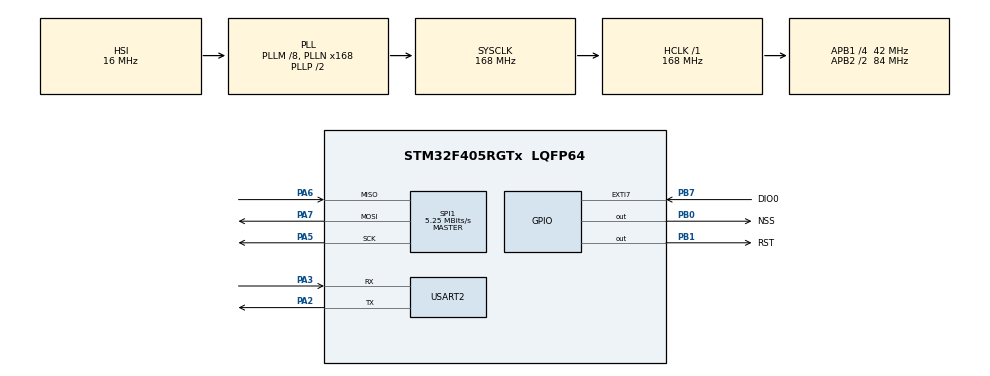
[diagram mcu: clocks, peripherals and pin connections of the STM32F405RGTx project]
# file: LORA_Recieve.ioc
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Mcu.Family=STM32F4
Mcu.Name=STM32F405RGTx
Mcu.Package=LQFP64
NVIC.EXTI9_5_IRQn=true\:0\:0\:true\:false\:true\:true\:true\:true
NVIC.PriorityGroup=NVIC_PRIORITYGROUP_4
NVIC.USART2_IRQn=true\:1\:0\:true\:false\:true\:true\:true\:true
PA13.Mode=Serial_Wire
PA13.Signal=SYS_JTMS-SWDIO
PA14.Mode=Serial_Wire
PA14.Signal=SYS_JTCK-SWCLK
PA2.Mode=Asynchronous
PA2.Signal=USART2_TX
PA3.Mode=Asynchronous
PA3.Signal=USART2_RX
PA5.Mode=Full_Duplex_Master
PA5.Signal=SPI1_SCK
PA6.Mode=Full_Duplex_Master
PA6.Signal=SPI1_MISO
PA7.Mode=Full_Duplex_Master
PA7.Signal=SPI1_MOSI
PB0.GPIO_Label=NSS
PB0.PinState=GPIO_PIN_SET
PB0.Signal=GPIO_Output
PB1.GPIO_Label=RST
PB1.PinState=GPIO_PIN_SET
PB1.Signal=GPIO_Output
PB7.GPIO_Label=DIO0
PB7.GPIO_ModeDefaultEXTI=GPIO_MODE_IT_RISING
PB7.Signal=GPXTI7
PH0-OSC_IN.Mode=HSE-External-Oscillator
PH0-OSC_IN.Signal=RCC_OSC_IN
PH1-OSC_OUT.Mode=HSE-External-Oscillator
PH1-OSC_OUT.Signal=RCC_OSC_OUT
ProjectManager.HeapSize=0x200
ProjectManager.StackSize=0x400
ProjectManager.TargetToolchain=STM32CubeIDE
RCC.48MHZClocksFreq_Value=84000000
RCC.AHBFreq_Value=168000000
RCC.APB1CLKDivider=RCC_HCLK_DIV4
RCC.APB1Freq_Value=42000000
RCC.APB1TimFreq_Value=84000000
RCC.APB2CLKDivider=RCC_HCLK_DIV2
RCC.APB2Freq_Value=84000000
RCC.APB2TimFreq_Value=168000000
RCC.CortexFreq_Value=168000000
RCC.HCLKFreq_Value=168000000
RCC.HSE_VALUE=25000000
RCC.HSI_VALUE=16000000
RCC.LSE_VALUE=32768
RCC.PLLM=8
RCC.PLLN=168
RCC.SYSCLKFreq_VALUE=168000000
RCC.SYSCLKSource=RCC_SYSCLKSOURCE_PLLCLK
RCC.VCOOutputFreq_Value=336000000
SPI1.BaudRatePrescaler=SPI_BAUDRATEPRESCALER_16
SPI1.CalculateBaudRate=5.25 MBits/s
SPI1.Direction=SPI_DIRECTION_2LINES
SPI1.Mode=SPI_MODE_MASTER
SPI1.VirtualType=VM_MASTER
USART2.VirtualMode=VM_ASYNC
board=custom

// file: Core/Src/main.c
/* USER CODE BEGIN Header */
/**
  ******************************************************************************
  * @file           : main.c
  * @brief          : Main program body
  ******************************************************************************
  * @attention
  *
  * Copyright (c) 2026 STMicroelectronics.
  * All rights reserved.
  *
  * This software is licensed under terms that can be found in the LICENSE file
  * in the root directory of this software component.
  * If no LICENSE file comes with this software, it is provided AS-IS.
  *
  ******************************************************************************
  */
/* USER CODE END Header */
#include "main.h"

/* USER CODE BEGIN Includes */
#include "LoRa.h"
#include <string.h>
#include "stdio.h"
/* USER CODE END Includes */

SPI_HandleTypeDef hspi1;

UART_HandleTypeDef huart2;

/* USER CODE BEGIN PV */
LoRa myLoRa;
uint8_t LoRa_stat=0;
uint8_t RxBuffer[15];

/* USER CODE END PV */

void SystemClock_Config(void);
static void MX_GPIO_Init(void);
static void MX_SPI1_Init(void);
static void MX_USART2_UART_Init(void);

/* USER CODE BEGIN 0 */
volatile uint8_t lora_rx_flag = 0;
volatile uint8_t uart_busy = 0;
void HAL_UART_TxCpltCallback(UART_HandleTypeDef *huart)
{
	if(huart->Instance == USART2)
	{
	    uart_busy = 0;
	}
}

/* USER CODE END 0 */

int main(void)
{

  /* MCU Configuration--------------------------------------------------------*/

  /* Reset of all peripherals, Initializes the Flash interface and the Systick. */
  HAL_Init();

  /* Configure the system clock */
  SystemClock_Config();

  /* Initialize all configured peripherals */
  MX_GPIO_Init();
  MX_SPI1_Init();
  MX_USART2_UART_Init();
  /* USER CODE BEGIN 2 */
  myLoRa = newLoRa();

    myLoRa.CS_port         = NSS_GPIO_Port;
    myLoRa.CS_pin          = NSS_Pin;
    myLoRa.reset_port      = RST_GPIO_Port;
    myLoRa.reset_pin       = RST_Pin;
    myLoRa.DIO0_port       = DIO0_GPIO_Port;
    myLoRa.DIO0_pin        = DIO0_Pin;
    myLoRa.hSPIx           = &hspi1;

    myLoRa.frequency             = 433;             // default = 433 MHz
    myLoRa.spredingFactor        = SF_7;            // default = SF_7
    myLoRa.bandWidth             = BW_31_25KHz;       // default = BW_125KHz
    myLoRa.crcRate               = CR_4_5;          // default = CR_4_5
    myLoRa.power                 = POWER_20db;      // default = 20db
    myLoRa.overCurrentProtection = 130;             // default = 100 mA
    myLoRa.preamble              = 9;              // default = 8;

 //   if(LoRa_init(&myLoRa) == LORA_OK){
 // 	  LoRa_stat=1;
 //   }
 //
 //
    LoRa_reset(&myLoRa);
    	LoRa_init(&myLoRa);

    LoRa_startReceiving(&myLoRa);

 //   uint8_t TxBuffer[128];
 //   TxBuffer[0] = 45;
 //   TxBuffer[1] = 0x12;
 //   TxBuffer[2] = 'G';

  //LoRa_transmit(&myLoRa, TxBuffer, 3, 500);
  /* USER CODE END 2 */

  /* Infinite loop */
  while (1)
  {
	  if(lora_rx_flag && uart_busy == 0)
	  {
		  lora_rx_flag = 0;

		  LoRa_receive(&myLoRa, RxBuffer, 14);

		  LoRa_startReceiving(&myLoRa);

		  uart_busy = 1;
		  HAL_UART_Transmit_IT(&huart2, RxBuffer,strlen((char*)RxBuffer));
	   }
  }
}

void SystemClock_Config(void)
{
  RCC_OscInitTypeDef RCC_OscInitStruct = {0};
  RCC_ClkInitTypeDef RCC_ClkInitStruct = {0};

  /** Configure the main internal regulator output voltage
  */
  __HAL_RCC_PWR_CLK_ENABLE();
  __HAL_PWR_VOLTAGESCALING_CONFIG(PWR_REGULATOR_VOLTAGE_SCALE1);

  /** Initializes the RCC Oscillators according to the specified parameters
  * in the RCC_OscInitTypeDef structure.
  */
  RCC_OscInitStruct.OscillatorType = RCC_OSCILLATORTYPE_HSI;
  RCC_OscInitStruct.HSIState = RCC_HSI_ON;
  RCC_OscInitStruct.HSICalibrationValue = RCC_HSICALIBRATION_DEFAULT;
  RCC_OscInitStruct.PLL.PLLState = RCC_PLL_ON;
  RCC_OscInitStruct.PLL.PLLSource = RCC_PLLSOURCE_HSI;
  RCC_OscInitStruct.PLL.PLLM = 8;
  RCC_OscInitStruct.PLL.PLLN = 168;
  RCC_OscInitStruct.PLL.PLLP = RCC_PLLP_DIV2;
  RCC_OscInitStruct.PLL.PLLQ = 4;
  if (HAL_RCC_OscConfig(&RCC_OscInitStruct) != HAL_OK)
  {
    Error_Handler();
  }

  /** Initializes the CPU, AHB and APB buses clocks
  */
  RCC_ClkInitStruct.ClockType = RCC_CLOCKTYPE_HCLK|RCC_CLOCKTYPE_SYSCLK
                              |RCC_CLOCKTYPE_PCLK1|RCC_CLOCKTYPE_PCLK2;
  RCC_ClkInitStruct.SYSCLKSource = RCC_SYSCLKSOURCE_PLLCLK;
  RCC_ClkInitStruct.AHBCLKDivider = RCC_SYSCLK_DIV1;
  RCC_ClkInitStruct.APB1CLKDivider = RCC_HCLK_DIV4;
  RCC_ClkInitStruct.APB2CLKDivider = RCC_HCLK_DIV2;

  if (HAL_RCC_ClockConfig(&RCC_ClkInitStruct, FLASH_LATENCY_5) != HAL_OK)
  {
    Error_Handler();
  }
}

static void MX_SPI1_Init(void)
{

  /* SPI1 parameter configuration*/
  hspi1.Instance = SPI1;
  hspi1.Init.Mode = SPI_MODE_MASTER;
  hspi1.Init.Direction = SPI_DIRECTION_2LINES;
  hspi1.Init.DataSize = SPI_DATASIZE_8BIT;
  hspi1.Init.CLKPolarity = SPI_POLARITY_LOW;
  hspi1.Init.CLKPhase = SPI_PHASE_1EDGE;
  hspi1.Init.NSS = SPI_NSS_SOFT;
  hspi1.Init.BaudRatePrescaler = SPI_BAUDRATEPRESCALER_16;
  hspi1.Init.FirstBit = SPI_FIRSTBIT_MSB;
  hspi1.Init.TIMode = SPI_TIMODE_DISABLE;
  hspi1.Init.CRCCalculation = SPI_CRCCALCULATION_DISABLE;
  hspi1.Init.CRCPolynomial = 10;
  if (HAL_SPI_Init(&hspi1) != HAL_OK)
  {
    Error_Handler();
  }

}

static void MX_USART2_UART_Init(void)
{

  huart2.Instance = USART2;
  huart2.Init.BaudRate = 115200;
  huart2.Init.WordLength = UART_WORDLENGTH_8B;
  huart2.Init.StopBits = UART_STOPBITS_1;
  huart2.Init.Parity = UART_PARITY_NONE;
  huart2.Init.Mode = UART_MODE_TX_RX;
  huart2.Init.HwFlowCtl = UART_HWCONTROL_NONE;
  huart2.Init.OverSampling = UART_OVERSAMPLING_16;
  if (HAL_UART_Init(&huart2) != HAL_OK)
  {
    Error_Handler();
  }

}

static void MX_GPIO_Init(void)
{
  GPIO_InitTypeDef GPIO_InitStruct = {0};

  /* GPIO Ports Clock Enable */
  __HAL_RCC_GPIOH_CLK_ENABLE();
  __HAL_RCC_GPIOA_CLK_ENABLE();
  __HAL_RCC_GPIOB_CLK_ENABLE();

  /*Configure GPIO pin Output Level */
  HAL_GPIO_WritePin(GPIOB, NSS_Pin|RST_Pin, GPIO_PIN_SET);

  /*Configure GPIO pins : NSS_Pin RST_Pin */
  GPIO_InitStruct.Pin = NSS_Pin|RST_Pin;
  GPIO_InitStruct.Mode = GPIO_MODE_OUTPUT_PP;
  GPIO_InitStruct.Pull = GPIO_NOPULL;
  GPIO_InitStruct.Speed = GPIO_SPEED_FREQ_LOW;
  HAL_GPIO_Init(GPIOB, &GPIO_InitStruct);

  /*Configure GPIO pin : DIO0_Pin */
  GPIO_InitStruct.Pin = DIO0_Pin;
  GPIO_InitStruct.Mode = GPIO_MODE_IT_RISING;
  GPIO_InitStruct.Pull = GPIO_NOPULL;
  HAL_GPIO_Init(DIO0_GPIO_Port, &GPIO_InitStruct);

  /* EXTI interrupt init*/
  HAL_NVIC_SetPriority(EXTI9_5_IRQn, 0, 0);
  HAL_NVIC_EnableIRQ(EXTI9_5_IRQn);

}

/* USER CODE BEGIN 4 */
void HAL_GPIO_EXTI_Callback(uint16_t GPIO_Pin){
	if(GPIO_Pin == myLoRa.DIO0_pin){
		lora_rx_flag = 1;
	}
}

/* USER CODE END 4 */

void Error_Handler(void)
{
  __disable_irq();
  while (1)
  {
  }
}
